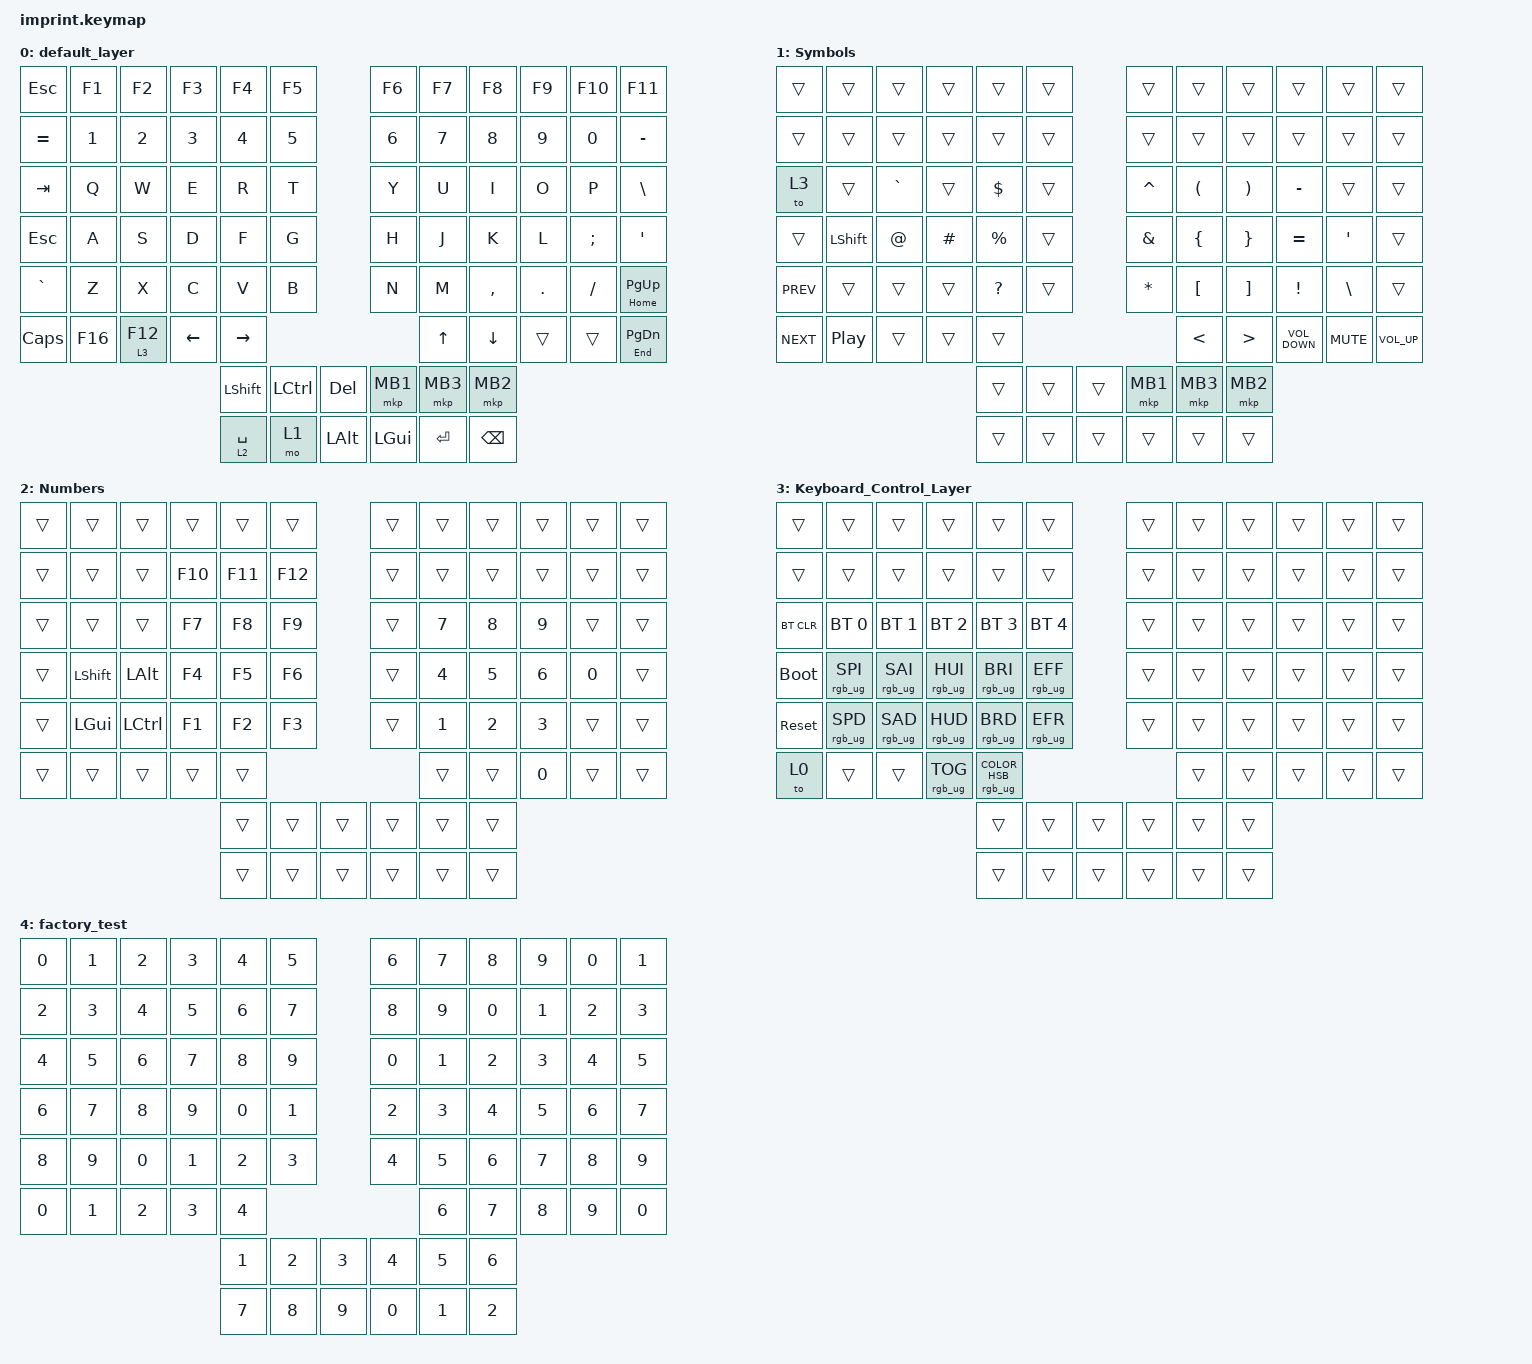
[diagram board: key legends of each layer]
#include <input/processors.dtsi>
#include <dt-bindings/zmk/input_transform.h>
#include <behaviors.dtsi>
#include <dt-bindings/zmk/bt.h>
#include <dt-bindings/zmk/keys.h>
#include <dt-bindings/zmk/pointing.h>
#include <dt-bindings/zmk/rgb.h>

/ {
    chosen { zmk,matrix-transform = &imprint_function_row_full_bottom_row; };

    keymap {
        compatible = "zmk,keymap";

        default_layer {
            bindings = <
&kp ESC       &kp F1   &kp F2     &kp F3    &kp F4          &kp F5                 &kp F6        &kp F7     &kp F8         &kp F9   &kp F10   &kp F11
&kp EQUAL     &kp N1   &kp N2     &kp N3    &kp N4          &kp N5                 &kp N6        &kp N7     &kp N8         &kp N9   &kp N0    &kp MINUS
&kp TAB       &kp Q    &kp W      &kp E     &kp R           &kp T                  &kp Y         &kp U      &kp I          &kp O    &kp P     &kp BSLH
&kp ESCAPE    &kp A    &kp S      &kp D     &kp F           &kp G                  &kp H         &kp J      &kp K          &kp L    &kp SEMI  &kp SQT
&kp GRAVE     &kp Z    &kp X      &kp C     &kp V           &kp B                  &kp N         &kp M      &kp COMMA      &kp DOT  &kp FSLH  &mt HOME PAGE_UP
&kp CAPSLOCK  &kp F16  &lt 3 F12  &kp LEFT  &kp RIGHT                                            &kp UP     &kp DOWN       &trans   &trans    &mt END PAGE_DOWN
                                            &kp LEFT_SHIFT  &kp LCTRL  &kp DEL     &mkp MB1      &mkp MB3   &mkp MB2
                                            &lt 2 SPACE     &mo 1      &kp LALT    &kp LEFT_GUI  &kp ENTER  &kp BACKSPACE
            >;
        };

        Symbols {
            bindings = <
&trans      &trans            &trans       &trans    &trans        &trans            &trans     &trans                &trans                 &trans             &trans            &trans
&trans      &trans            &trans       &trans    &trans        &trans            &trans     &trans                &trans                 &trans             &trans            &trans
&to 3       &trans            &kp GRAVE    &trans    &kp DOLLAR    &trans            &kp CARET  &kp LEFT_PARENTHESIS  &kp RIGHT_PARENTHESIS  &kp MINUS          &trans            &trans
&trans      &kp LEFT_SHIFT    &kp AT_SIGN  &kp HASH  &kp PERCENT   &trans            &kp AMPS   &kp LEFT_BRACE        &kp RIGHT_BRACE        &kp EQUAL          &kp SINGLE_QUOTE  &trans
&kp C_PREV  &trans            &trans       &trans    &kp QUESTION  &trans            &kp ASTRK  &kp LEFT_BRACKET      &kp RIGHT_BRACKET      &kp EXCLAMATION    &kp BACKSLASH     &trans
&kp C_NEXT  &kp C_PLAY_PAUSE  &trans       &trans    &trans                                     &kp LESS_THAN         &kp GREATER_THAN       &kp C_VOLUME_DOWN  &kp C_MUTE        &kp C_VOLUME_UP
                                                     &trans        &trans  &trans    &mkp MB1   &mkp MB3              &mkp MB2
                                                     &trans        &trans  &trans    &trans     &trans                &trans
            >;
        };

        Numbers {
            bindings = <
&trans  &trans      &trans     &trans   &trans   &trans             &trans  &trans        &trans        &trans        &trans  &trans
&trans  &trans      &trans     &kp F10  &kp F11  &kp F12            &trans  &trans        &trans        &trans        &trans  &trans
&trans  &trans      &trans     &kp F7   &kp F8   &kp F9             &trans  &kp N7        &kp N8        &kp N9        &trans  &trans
&trans  &kp LSHIFT  &kp LALT   &kp F4   &kp F5   &kp F6             &trans  &kp NUMBER_4  &kp N5        &kp NUMBER_6  &kp N0  &trans
&trans  &kp LGUI    &kp LCTRL  &kp F1   &kp F2   &kp F3             &trans  &kp NUMBER_1  &kp NUMBER_2  &kp NUMBER_3  &trans  &trans
&trans  &trans      &trans     &trans   &trans                              &trans        &trans        &kp N0        &trans  &trans
                                        &trans   &trans   &trans    &trans  &trans        &trans
                                        &trans   &trans   &trans    &trans  &trans        &trans
            >;
        };

        Keyboard_Control_Layer {
            bindings = <
&trans       &trans           &trans           &trans           &trans                          &trans                     &trans  &trans  &trans  &trans  &trans  &trans
&trans       &trans           &trans           &trans           &trans                          &trans                     &trans  &trans  &trans  &trans  &trans  &trans
&bt BT_CLR   &bt BT_SEL 0     &bt BT_SEL 1     &bt BT_SEL 2     &bt BT_SEL 3                    &bt BT_SEL 4               &trans  &trans  &trans  &trans  &trans  &trans
&bootloader  &rgb_ug RGB_SPI  &rgb_ug RGB_SAI  &rgb_ug RGB_HUI  &rgb_ug RGB_BRI                 &rgb_ug RGB_EFF            &trans  &trans  &trans  &trans  &trans  &trans
&sys_reset   &rgb_ug RGB_SPD  &rgb_ug RGB_SAD  &rgb_ug RGB_HUD  &rgb_ug RGB_BRD                 &rgb_ug RGB_EFR            &trans  &trans  &trans  &trans  &trans  &trans
&to 0        &trans           &trans           &rgb_ug RGB_TOG  &rgb_ug RGB_COLOR_HSB(2,90,17)                                     &trans  &trans  &trans  &trans  &trans
                                                                &trans                          &trans           &trans    &trans  &trans  &trans
                                                                &trans                          &trans           &trans    &trans  &trans  &trans
            >;
        };

        factory_test {
            bindings = <
&kp N0  &kp N1  &kp N2  &kp N3  &kp N4  &kp N5            &kp N6  &kp N7  &kp N8  &kp N9  &kp N0  &kp N1
&kp N2  &kp N3  &kp N4  &kp N5  &kp N6  &kp N7            &kp N8  &kp N9  &kp N0  &kp N1  &kp N2  &kp N3
&kp N4  &kp N5  &kp N6  &kp N7  &kp N8  &kp N9            &kp N0  &kp N1  &kp N2  &kp N3  &kp N4  &kp N5
&kp N6  &kp N7  &kp N8  &kp N9  &kp N0  &kp N1            &kp N2  &kp N3  &kp N4  &kp N5  &kp N6  &kp N7
&kp N8  &kp N9  &kp N0  &kp N1  &kp N2  &kp N3            &kp N4  &kp N5  &kp N6  &kp N7  &kp N8  &kp N9
&kp N0  &kp N1  &kp N2  &kp N3  &kp N4                            &kp N6  &kp N7  &kp N8  &kp N9  &kp N0
                                &kp N1  &kp N2  &kp N3    &kp N4  &kp N5  &kp N6
                                &kp N7  &kp N8  &kp N9    &kp N0  &kp N1  &kp N2
            >;
        };
    };
};

// &trackball_peripheral_listener {
//    input-processors =
//     activate layer 3 within 500ms of the trackball moving
//     <&zip_temp_layer 3 500>;
// };
//right hand trackball configuration
//left hand trackball configuration

&trackball_central_listener {
    input-processors =
        // this gets it to the default installation orientation,,,,,,,,,,,,,,,,,,,,,,,,,,,,,,,,,,,,,,,,,,,,,,,,,
        // <&zip_xy_transform INPUT_TRANSFORM_XY_SWAP>,,,,,,,,,,,,,,,,,,,,,,,,,,,,,,,,
        // multiply sensitivity by 1, divide by 25 (make it slower for scrolling),,,,,,,,,,,,,,,,,,,,,,,,,,,,,,,,,,,,,,,,,,,,,,,,,
        <&zip_xy_scaler 1 25>,
        // make this trackball output scrolling events by default instead of cursor movement,,,,,,,,,,,,,,,,,,,,,,,,,,,,,,,,,,,,,,,,,,,,,,,,,
        <&zip_xy_to_scroll_mapper>,
        // invert vertical scrolling so that the view moves in the same direction as the top of the trackball.,,,,,,,,,,,,,,,,,,,,,,,,,,,,,,,,,,,,,,,,,,,,,,,,,
        <&zip_scroll_transform INPUT_TRANSFORM_Y_INVERT>,
        <&zip_scroll_transform INPUT_TRANSFORM_X_INVERT>;
};
